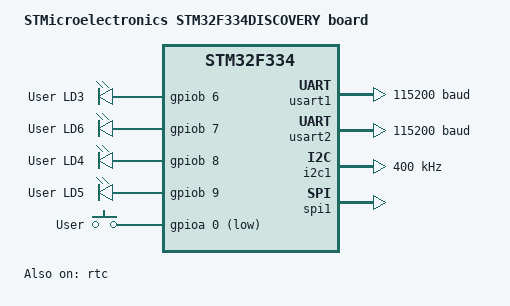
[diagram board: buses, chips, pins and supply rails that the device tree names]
/*
 * Copyright (c) 2017 I-SENSE group of ICCS
 *
 * SPDX-License-Identifier: Apache-2.0
 */

/dts-v1/;
#include <st/f3/stm32f334X8.dtsi>

/ {
	model = "STMicroelectronics STM32F334DISCOVERY board";
	compatible = "st,stm32f334discovery", "st,stm32f334";

	chosen {
		zephyr,console = &usart2;
		zephyr,shell-uart = &usart2;
		zephyr,sram = &sram0;
		zephyr,flash = &flash0;
	};

	leds {
		compatible = "gpio-leds";
		red_led_U: led_3 {
			gpios = <&gpiob 6 GPIO_ACTIVE_HIGH>;
			label = "User LD3";
		};
		blue_led_D: led_6 {
			gpios = <&gpiob 7 GPIO_ACTIVE_HIGH>;
			label = "User LD6";
		};
		orange_led_L: led_4 {
			gpios = <&gpiob 8 GPIO_ACTIVE_HIGH>;
			label = "User LD4";
		};
		green_led_R: led_5 {
			gpios = <&gpiob 9 GPIO_ACTIVE_HIGH>;
			label = "User LD5";
		};
	};

	gpio_keys {
		compatible = "gpio-keys";
		user_button: button {
			label = "User";
			gpios = <&gpioa 0 GPIO_ACTIVE_LOW>;
		};
	};

	aliases {
		led0 = &red_led_U;
		led1 = &green_led_R;
		led2 = &blue_led_D;
		led3 = &orange_led_L;
		sw0 = &user_button;
		can-primary = &can1;
	};
};

&usart1 {
	current-speed = <115200>;
	status = "okay";
};

&usart2 {
	current-speed = <115200>;
	status = "okay";
};

&i2c1 {
	status = "okay";
	clock-frequency = <I2C_BITRATE_FAST>;
};

&spi1 {
	status = "okay";
};


&rtc {
	status = "okay";
};

&flash0 {
	/*
	 * For more information, see:
	 * http://docs.zephyrproject.org/latest/guides/dts/index.html#flash-partitions
	 */
	partitions {
		compatible = "fixed-partitions";
		#address-cells = <1>;
		#size-cells = <1>;

		/* Set 6Kb of storage at the end of the 64Kb of flash */
		storage_partition: partition@e800 {
			label = "storage";
			reg = <0x0000e800 0x00001800>;
		};
	};
};
